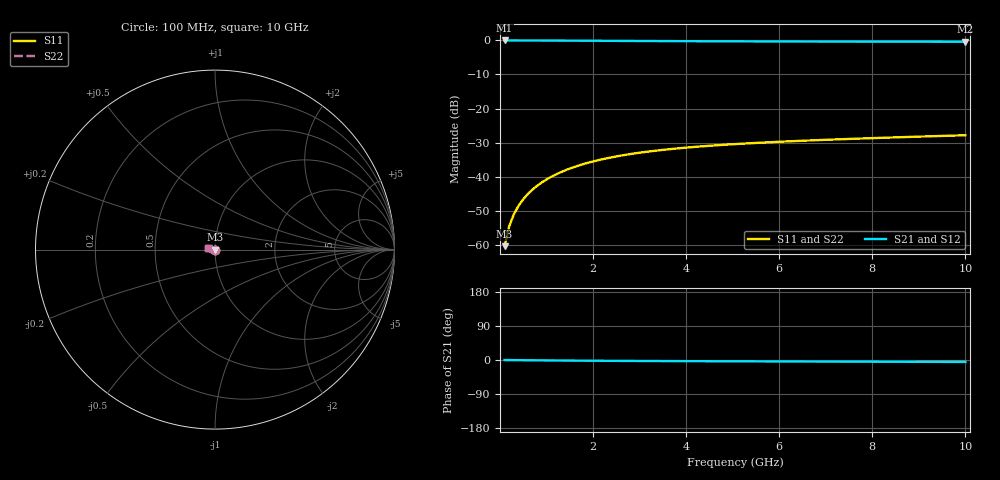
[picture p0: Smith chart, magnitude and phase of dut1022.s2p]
! Touchstone file exported from HFSS 2024.1.0
!  File:  C:/UserFiles/LocalFiles/RDL_TSV_Batchsim/temp_TSV1_1022_1780059951.aedt
!  Generated:  09:11:09 PM May 29, 2026
!  Design:  TSV1
!  Project:  temp_TSV1_1022_1780059951
!  Setup:  Setup1
!  Solution:  Sweep
! Variables:
!  dtsv = 8.11um
!  hbump = 3um
!  htsv = 78.62um
!  lrdl = 252.1521522um
!  p = 40
!  p1 = 49.91um
!  t = 500um
!  trdl = 3um
!  wrdl = 24.89489489um
# GHz S MA R 50.000000
! Terminal data exported
! Port[1] = TSV22_T1
! Port[2] = TSV22_T2
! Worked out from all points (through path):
!   100 points, 100 MHz to 10 GHz, reference 50 ohm
!   highest |S21| = 0.00 dB at 100 MHz (marker M1); lowest = -0.4 dB at 10 GHz (marker M2)
!   lowest |S11| = -60.4 dB at 100 MHz (marker M3), VSWR 1.00, Z = 50 - j0.0934 ohm
!   |S11| at or under -10 dB: start of sweep to end of sweep
!   |S22| runs from -60.4 to -27.8 dB; largest |S21 - S12| = 4.2e-15
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0.1  0.0009519 -78.7  0.9997 -0.1  0.9997 -0.1  0.0009519 -78.7
! Gamma 0 0 0 0
! Port Impedance 50 0 50 0
0.2  0.001877 -87.0  0.9996 -0.2  0.9996 -0.2  0.001877 -87.0
0.3  0.002808 -91.1  0.9995 -0.3  0.9995 -0.3  0.002808 -91.1
0.4  0.003734 -94.2  0.9992 -0.4  0.9992 -0.4  0.003734 -94.2
0.5  0.004653 -96.8  0.9989 -0.6  0.9989 -0.6  0.004653 -96.8
0.6  0.005563 -99.2  0.9986 -0.7  0.9986 -0.7  0.005563 -99.2
0.7  0.006463 -101.4  0.9982 -0.8  0.9982 -0.8  0.006463 -101.4
0.8  0.00735 -103.5  0.9978 -0.9  0.9978 -0.9  0.00735 -103.5
0.9  0.008224 -105.5  0.9973 -1.0  0.9973 -1.0  0.008224 -105.5
1.1  0.009928 -109.5  0.9962 -1.2  0.9962 -1.2  0.009928 -109.5
1.4  0.01236 -115.0  0.9942 -1.5  0.9942 -1.5  0.01236 -115.0
1.6  0.01388 -118.6  0.9928 -1.6  0.9928 -1.6  0.01388 -118.6
1.8  0.01533 -122.0  0.9913 -1.8  0.9913 -1.8  0.01533 -122.0
2.1  0.01736 -126.9  0.989 -2.0  0.989 -2.0  0.01736 -126.9
2.5  0.01979 -133.0  0.9859 -2.3  0.9859 -2.3  0.01979 -133.0
2.9  0.02194 -138.6  0.9829 -2.5  0.9829 -2.5  0.02194 -138.6
3.4  0.02428 -145.0  0.9794 -2.8  0.9794 -2.8  0.02428 -145.0
4.2  0.02737 -154.2  0.9745 -3.1  0.9745 -3.1  0.02737 -154.2
5.1  0.03017 -163.0  0.9701 -3.5  0.9701 -3.5  0.03017 -163.0
6.7  0.03408 -175.9  0.9644 -4.0  0.9644 -4.0  0.03408 -175.9
8.4  0.03753 173.1  0.9604 -4.6  0.9604 -4.6  0.03753 173.1
10  0.04053 164.5  0.9578 -5.1  0.9578 -5.1  0.04053 164.5
